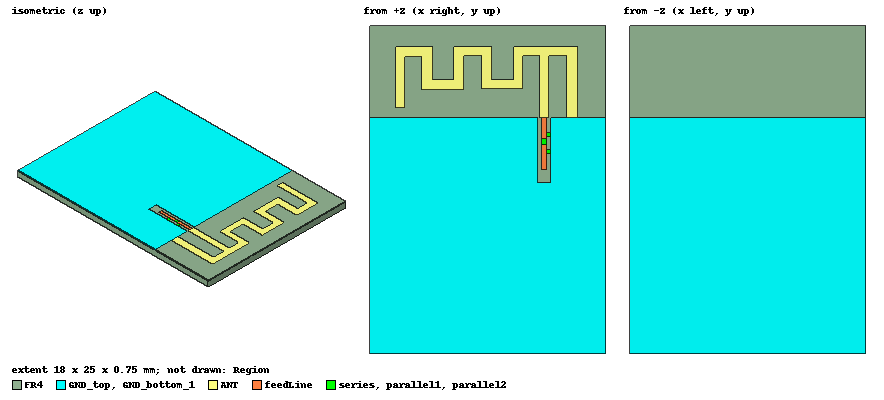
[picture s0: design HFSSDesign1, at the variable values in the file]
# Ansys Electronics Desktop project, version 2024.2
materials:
  FR4_epoxy: permittivity=4.4 dielectric_loss_tangent=0.02
  vacuum: permittivity=1

design HFSSDesign1 (HFSS, HFSS Modal Network, model units mm)
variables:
  LineWidth = 0.32004mm
  gap_width = 0.30988mm
  Line_length = 5mm
  ind1 = 2.8nH
  Capa1 = 1.9pF
  Capa2 = 1.2pF
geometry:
  FR4 [FR4_epoxy] = box(corner=(0mm, 0mm, 0mm), size=(18mm, 25mm, 0.75mm))
  GND_layer2 = rectangle(corner=(0mm, 0mm, (0.75-0.2032) mm), x_size=18mm, y_size=18mm)
  GND_top = rectangle(corner=(0mm, 0mm, 0.75mm), x_size=18mm, y_size=18mm)
  GND_bottom_1 = rectangle(corner=(0mm, 0mm, 0mm), x_size=18mm, y_size=18mm)
  ANT = rectangle(corner=(15.872902mm, 18mm, 0.75mm), x_size=-0.85742998mm, y_size=4.688569mm)
  Rectangle3 = rectangle(corner=(15.872902mm, 22.688569mm, 0.75mm), x_size=-4.852879mm, y_size=0.72483826mm)
  Rectangle5 = rectangle(corner=(13.67187mm, 18mm, 0.75mm), x_size=-0.72483826mm, y_size=4.7150887mm)
  Rectangle6 = rectangle(corner=(11.020023mm, 22.688569mm, 0.75mm), x_size=0.67180061mm, y_size=-2.5192528mm)
  Rectangle7 = rectangle(corner=(11.020023mm, 20.169316mm, 0.75mm), x_size=-2.4485383mm, y_size=0.68064023mm)
  Rectangle8 = rectangle(corner=(8.5714849mm, 20.849956mm, 0.75mm), x_size=0.7513566mm, y_size=2.5280933mm)
  Rectangle9 = rectangle(corner=(8.5714849mm, 23.37805mm, 0.75mm), x_size=-2.1479957mm, y_size=-0.67180156mm)
  Rectangle10 = rectangle(corner=(6.4234891mm, 22.706248mm, 0.75mm), x_size=0.7513566mm, y_size=-2.5899696mm)
  Rectangle11 = rectangle(corner=(6.4234891mm, 20.116279mm, 0.75mm), x_size=-2.4485385mm, y_size=0.76019669mm)
  Rectangle12 = rectangle(corner=(3.9749506mm, 20.876475mm, 0.75mm), x_size=0.82207251mm, y_size=2.5104141mm)
  Rectangle13 = rectangle(corner=(3.9749506mm, 23.386889mm, 0.75mm), x_size=-1.953527mm, y_size=-0.71599864mm)
  Rectangle14 = rectangle(corner=(2.0214236mm, 22.670891mm, 0.75mm), x_size=0.6894803mm, y_size=-3.9335718mm)
  ANT.unite(Rectangle3, Rectangle5..Rectangle14)
  Region [vacuum] = region(transverse_percentage_offset=50 on all sides)
  Rectangle16 = rectangle(corner=(13.309657052557mm-LineWidth/2, 18mm, 0.75mm), x_size=LineWidth, y_size=-Line_length)
  Rectangle17 = rectangle(corner=(13.149637mm, 18mm, 0.75mm), x_size=-gap_width, y_size=-Line_length)
  Rectangle18 = rectangle(corner=(13.469677mm, 18mm, 0.75mm), x_size=gap_width, y_size=-Line_length)
  feedLine = rectangle(corner=(13.309657052557mm-LineWidth/2, 18mm, 0.75mm), x_size=LineWidth, y_size=-Line_length+1mm)
  GND_top.subtract(Rectangle16, Rectangle17, Rectangle18)
  feed = rectangle(corner=(13.149637mm, 14mm, 0.75mm), z_size=-0.2032mm, x_size=LineWidth)
  coordinate_system RelativeCS1 = origin=(0mm, 0mm, 0.75mm) x=(1mm, 0mm, 0mm) y=(0mm, 1mm, 0mm)
  series = rectangle(corner=(13.309657052557mm-LineWidth/2, 16.362149mm, 0mm), x_size=LineWidth, y_size=-0.4mm) in RelativeCS1
  parallel1 = rectangle(corner=(13.309657052557mm-LineWidth/2+LineWidth, 15.578294mm, 0mm), x_size=gap_width, y_size=-0.32mm) in RelativeCS1
  parallel2 = rectangle(corner=(13.309657052557mm-LineWidth/2+LineWidth, 16.543305mm, 0mm), x_size=gap_width, y_size=0.32mm) in RelativeCS1
  series1 = rectangle(corner=(13.309657052557mm-LineWidth/2, 16.362149mm, 0mm), x_size=LineWidth, y_size=-0.4mm) in RelativeCS1
  feedLine.subtract(series1)
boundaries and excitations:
  PerfE1: Perfect E Objects=[GND_bottom_1, GND_top, GND_layer2]
  PerfE2: Perfect E Objects=ANT
  Rad1: Radiation Faces=Region.face(all 6)
  PerfE3: Perfect E Objects=feedLine
  feed: Lumped Port Objects=feed LumpedPortType=Modal Modes{Mode1{IntLine{(13.309657, 14, 0.5468) -> (13.309657, 14, 0.75)} CharImp=Zpi RenormImp=50ohm}} Impedance=50ohm
  series: Lumped Port Objects=series LumpedPortType=Modal Modes{Mode1{IntLine{(13.309657, 15.962149, 0.75) -> (13.309657, 16.362149, 0.75)} CharImp=Zpi RenormImp=1e-6+1i*(2*pi*freq*ind1)}} Impedance=50ohm
  parallel1: Lumped Port Objects=parallel1 LumpedPortType=Modal Modes{Mode1{IntLine{(13.779557, 15.418294, 0.75) -> (13.469677, 15.418294, 0.75)} CharImp=Zpi RenormImp=1e-6+1i*(-1/(2*pi*freq*Capa1))}} Impedance=50ohm
  parallel2: Lumped Port Objects=parallel2 LumpedPortType=Modal Modes{Mode1{IntLine{(13.779557, 16.703305, 0.75) -> (13.469677, 16.703305, 0.75)} CharImp=Zpi RenormImp=1e-6+1i*(-1/(2*pi*freq*Capa2))}} Impedance=50ohm
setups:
  Setup1: HfssDriven Frequency=2.45GHz MaxDeltaS=0.02 MaximumPasses=6 MinimumPasses=1 MinimumConvergedPasses=1 PercentRefinement=30 BasisOrder=1 PortAccuracy=2 DrivenSolverType="Direct Solver"
    sweep Sweep: 1GHz to 4GHz step 0.005GHz; Type=Interpolating SaveFields InterpTolerance=0.5 InterpMaxSolns=250 InterpUsePortImped=false PassivityErrorTolerance=0.0001
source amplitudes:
  feed:1: 1W 0deg
  series:1, parallel1:1, parallel2:1: 0W 0deg
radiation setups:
  Infinite Sphere1: Infinite Sphere Theta=0deg..180deg step 2deg Phi=-180deg..180deg step 2deg
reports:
  S Parameter Plot 1: dB(S(1,1)) vs Freq on Setup1 : Sweep; markers m1 at 2.44GHz, m2 at 2.395GHz, m3 at 2.48GHz
  Gain Plot 1: dB(GainTotal) vs Phi, Theta on Setup1 : LastAdaptive, Infinite Sphere1 [Freq=2.45GHz]

design Circuit1 (Circuit)
options: SParamCircuitDef IntegrationMethod=FFT
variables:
  C1 = 1.9pF
  C2 = 1.2pF
  L1 = 2.8nH
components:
  S3 = HFSSDesign3()
  L4 = IND_(L=L1)
  C5 = CAP_(C=C2)
  C6 = CAP_(C=C1)
  port Port1 rz=50ohm iz=0ohm EnableNoise=false noisetemp=16.85cel
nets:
  0: C5.1, L4.1, C6.0
  net_1: S3.2, C5.0
  net_2: S3.3, L4.0
  net_3: S3.1, C6.1
  Port1: S3.0
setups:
  LinearFrequency: LinearFrequencyData(false, 0.1, false, "", false) SweepDefinition{Variable=Freq Data="LIN 1GHz 4GHz 0.005GHz"}
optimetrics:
  ParametricSetup1: Parametric UseFastCalculationUpdateAlgo SaveSolutions Sim._Setups=[LinearFrequency]
    sweep L1: LIN 2nH 3nH 0.2nH
    sweep C1: LIN 1.5pF 2.5pF 0.2pF
    sweep C2: LIN 1pF 2pF 0.2pF
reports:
  S Parameter Plot 1: dB(S(Port1,Port1)) vs Freq on LinearFrequency : LinearFrequency [C1=all C2=all L1=all]; markers m1 at 2.46GHz, m2 at 2.44GHz, m3 at 2.395GHz, m4 at 2.48GHz
